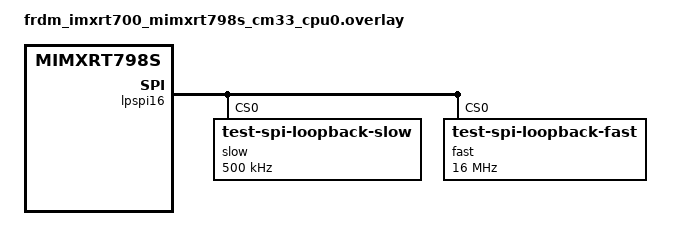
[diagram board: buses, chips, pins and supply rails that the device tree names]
/*
 * SPDX-FileCopyrightText: Copyright 2026 NXP
 *
 * SPDX-License-Identifier: Apache-2.0
 */

/* Connect J22-6 (LPSPI16_SOUT, PIO2_2) to J22-5 (LPSPI16_SIN, PIO2_4) */
&lpspi16 {
	slow@0 {
		compatible = "test-spi-loopback-slow";
		reg = <0>;
		spi-max-frequency = <500000>;
	};

	fast@0 {
		compatible = "test-spi-loopback-fast";
		reg = <0>;
		spi-max-frequency = <16000000>;
	};
};
